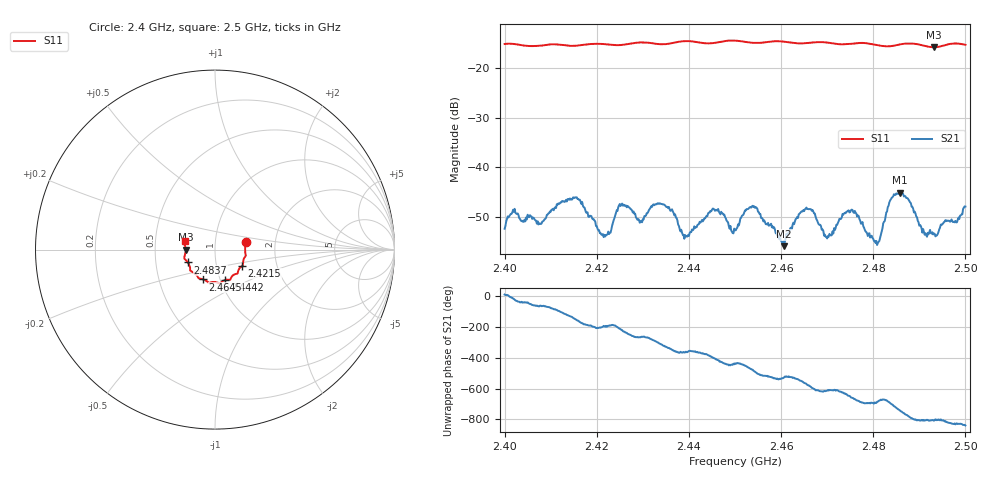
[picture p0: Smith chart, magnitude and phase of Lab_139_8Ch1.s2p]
# Hz S RI R 50
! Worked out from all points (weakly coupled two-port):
!   601 points, 2.4 GHz to 2.5 GHz, reference 50 ohm
!   highest |S21| = -45.16 dB at 2.4858 GHz (marker M1); lowest = -56.0 dB at 2.4607 GHz (marker M2)
!   lowest |S11| = -15.7 dB at 2.4932 GHz (marker M3), VSWR 1.39, Z = 36 - j0.0542 ohm
!   |S11| at or under -10 dB: start of sweep to end of sweep
!   S12 and S22 are empty: the file has one direction only
!   S11 on the Smith chart (normalised r, x): 2.4 GHz: 1.41, +0.12; 2.4215 GHz: 1.33, -0.25; 2.4442 GHz: 1.05, -0.37; 2.4645 GHz: 0.83, -0.29; 2.4837 GHz: 0.73, -0.11; 2.5 GHz: 0.71, +0.07
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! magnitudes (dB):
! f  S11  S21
! 2.4 GHz  -15.1  -52.4
! 2.4018 GHz  -15.1  -48.6
! 2.4167 GHz  -15.3  -47.5
! 2.4215 GHz  -15.1  -54.2
! 2.4252 GHz  -15.3  -47.9
! 2.4297 GHz  -14.8  -50.8
! 2.4333 GHz  -15.1  -47.3
! 2.4392 GHz  -14.5  -53.7
! 2.4442 GHz  -15.0  -49.3
! 2.45 GHz  -14.4  -52.8
! 2.4542 GHz  -14.9  -47.9
! 2.4607 GHz  -14.6  -56.0
! 2.4645 GHz  -15.0  -48.9
! 2.4667 GHz  -14.8  -48.8
! 2.4698 GHz  -14.8  -54.1
! 2.4757 GHz  -15.0  -49.1
! 2.4808 GHz  -15.3  -55.7
! 2.4833 GHz  -15.6  -47.8
! 2.4837 GHz  -15.5  -46.7
! 2.4858 GHz  -15.2  -45.2
! 2.4932 GHz  -15.7  -53.4
! 2.5 GHz  -15.2  -48.0
